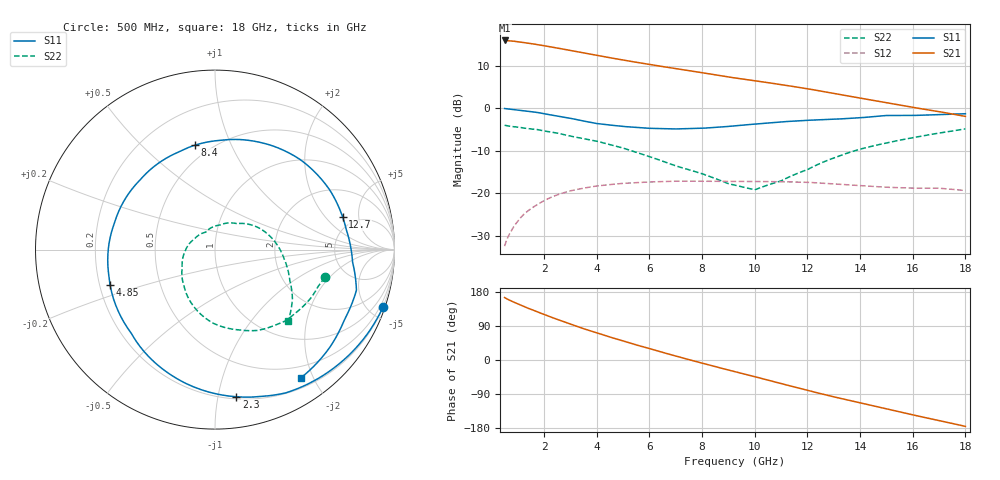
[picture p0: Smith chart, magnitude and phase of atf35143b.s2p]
!atf35143
!2V 10mA
# ghz s ma r 50
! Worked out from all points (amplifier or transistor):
!   351 points, 500 MHz to 18 GHz, reference 50 ohm
!   highest |S21| = 15.9 dB at 500 MHz (marker M1)
!   |S21| within 3 dB of that: start of sweep to 3.557 GHz
!   unconditionally stable (mu >= 1): 8.333 GHz to end of sweep
!   at 3.4 GHz: K = 0.47, MSG = 16.0 dB, |S12| = -18.9 dB
!   at 9.25 GHz: K = 1.07, MAG = 10.5 dB, |S12| = -17.2 dB
!   at 18 GHz: K = 1.41, MAG = 4.9 dB, |S12| = -19.3 dB
!   lowest NFmin = 0.10 dB at 650 MHz
!   S11 on the Smith chart (normalised r, x): 500 MHz: 0.19, -6.05; 2.3 GHz: 0.22, -1.13; 4.85 GHz: 0.24, -0.16; 8.4 GHz: 0.41, +0.74; 12.7 GHz: 4.00, +3.12; 18 GHz: 0.33, -1.83
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0.5  0.99 -18.8  6.23 164.8  0.024 77.6  0.63 -14.1
0.65  0.9771 -25.5  6.185 159.1  0.03177 73.1  0.6171 -17.7
0.85  0.9613 -33.1  6.103 152.7  0.04079 68.1  0.6056 -22.5
1.3  0.9241 -49.5  5.836 139.0  0.05929 57.9  0.5806 -34.3
1.8  0.8837 -65.5  5.534 125.6  0.07569 48.0  0.5558 -46.0
2.3  0.8287 -81.7  5.2 112.2  0.09077 38.1  0.5212 -57.8
2.85  0.7741 -98.8  4.85 98.5  0.1039 28.2  0.4813 -69.5
3.45  0.7114 -118.6  4.473 83.8  0.1143 17.6  0.4409 -81.7
4.25  0.6464 -143.0  4.034 66.1  0.1244 5.0  0.391 -96.5
4.85  0.6168 -161.3  3.738 53.3  0.1298 -3.9  0.3496 -107.5
5.55  0.5928 178.1  3.435 38.9  0.1339 -14.1  0.2999 -121.0
6.35  0.5763 155.3  3.131 23.1  0.1371 -25.2  0.2479 -137.0
7.35  0.5737 127.5  2.8 3.8  0.139 -38.1  0.1954 -159.3
8.4  0.5924 100.9  2.49 -15.7  0.1386 -50.6  0.1534 172.4
9.25  0.6204 81.5  2.263 -30.9  0.138 -60.4  0.1248 144.9
10.7  0.6784 52.5  1.951 -56.8  0.1373 -76.1  0.1313 89.6
12.2  0.7241 23.8  1.649 -83.4  0.1338 -93.2  0.2045 45.6
12.7  0.7342 14.2  1.548 -92.2  0.1308 -98.9  0.2396 35.6
13.75  0.7627 -1.9  1.354 -109.1  0.1245 -108.7  0.313 14.4
15.1  0.82 -17.3  1.146 -130.3  0.1177 -121.1  0.3962 -9.4
16.5  0.8302 -34.5  0.9642 -152.3  0.115 -134.8  0.4805 -27.3
18  0.86 -56.1  0.8 -175.2  0.108 -149.2  0.57 -44.4
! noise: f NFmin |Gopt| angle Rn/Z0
0.5  0.1  0.88  5  0.15
1.55  0.1744  0.7652  26.9  0.1506
2.6  0.3  0.6492  50.87  0.1377
3.65  0.416  0.5434  76.7  0.1187
4.7  0.5455  0.4702  109.2  0.0949
5.75  0.6618  0.4101  128.8  0.05438
6.8  0.7865  0.3751  -158  0.04825
7.85  0.9033  0.352  -110.9  0.06551
8.9  1.028  0.3491  -129.2  0.1131
10  1.16  0.37  -81.8  0.22
